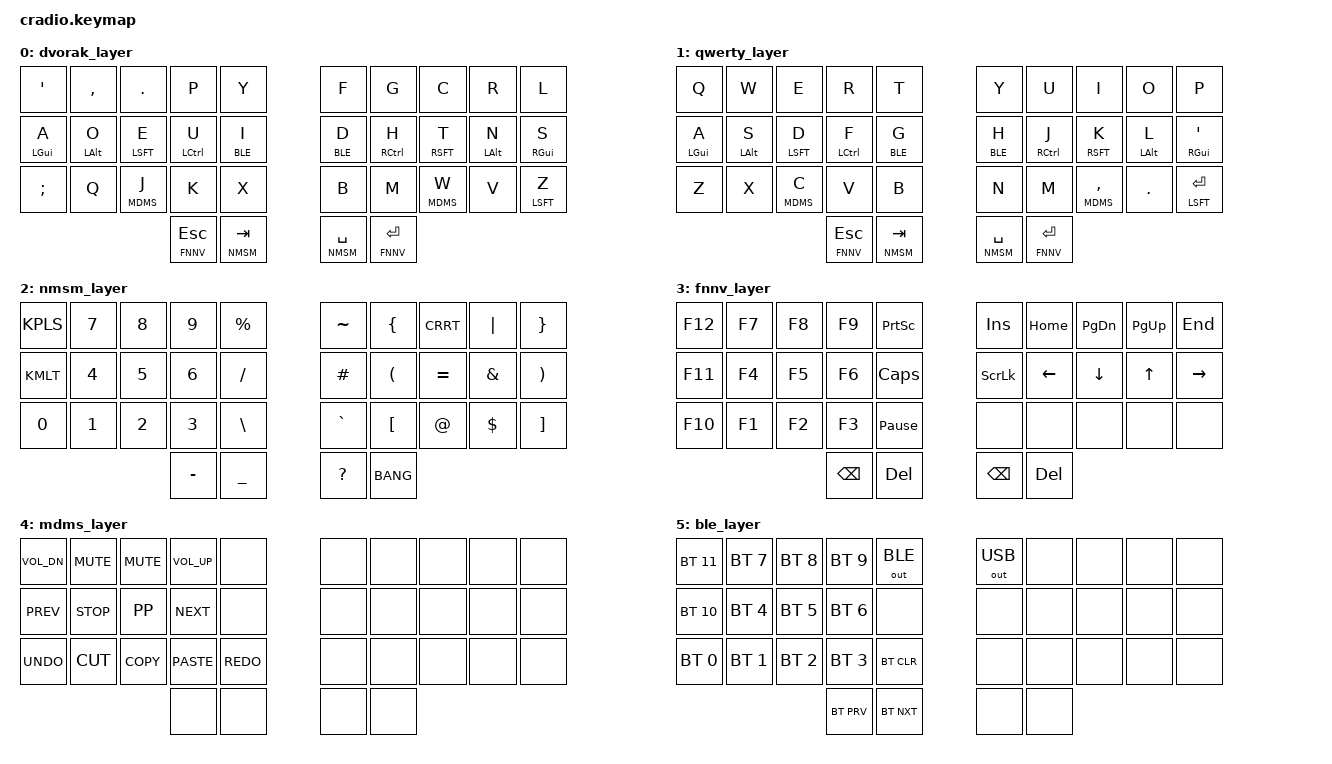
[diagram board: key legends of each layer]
/*
 * Copyright (c) 2020 The ZMK Contributors
 *
 * SPDX-License-Identifier: MIT
 */

#include <behaviors.dtsi>
#include <dt-bindings/zmk/keys.h>
#include <dt-bindings/zmk/bt.h>
#include <dt-bindings/zmk/outputs.h>

#define DVRK 0 /* dvorak */
#define QWRT 1 /* qwerty */
#define NMSM 2 /* numbers + symbols */
#define FNNV 3 /* function keys + navigation  */
#define MDMS 4 /* media + mouse */
#define BLE  5 /* for configuring bluetooth */


/* homerow mod placement ("left pinky mod" = LPMD, "left ring mod" = LRMD, etc) */
#define LPMD LGUI
#define LRMD LALT
#define LMMD LSFT
#define LIMD LCTL 
#define RPMD RGUI
#define RRMD RALT
#define RMMD RSFT
#define RIMD RCTL 

&lt {
    flavor = "balanced";
    tapping_term_ms = <150>;
};

&mt {
    flavor = "balanced";
    tapping_term_ms = <150>;
};

/ { 
    behaviors {
        bkspdel: backspace_delete {
            compatible = "zmk,behavior-mod-morph";
            label = "BACKSPACE_DELETE";
            #binding-cells = <0>;
            bindings = <&kp BSPC>, <&kp DEL>;
            mods = <(MOD_LCTL|MOD_RCTL)>;
        };
    };

    combos {
        compatible = "zmk,combos";
        combo_toggle_layout {
            timeout-ms = <50>;
            key-positions = <0 9 20 29>;
            bindings = <&tog QWRT>;
        };

        combo_bootloader {
            timeout-ms = <50>;
            key-positions = <14 15 24 25>;
            bindings = <&bootloader>;
        };

        combo_reset {
            timeout-ms = <50>;
            key-positions = <30 31>;
            bindings = <&reset>;
        };
    };

    keymap {
        compatible = "zmk,keymap";
                
        dvorak_layer {
            bindings = <
                &kp QUOT   &kp CMMA   &kp DOT    &kp P        &kp Y        /**/ &kp F        &kp G        &kp C      &kp R      &kp L 
                &mt LPMD A &mt LRMD O &mt LMMD E &mt LIMD U   &lt BLE I    /**/ &lt BLE D    &mt RIMD H   &mt RMMD T &mt LRMD N &mt RPMD S
                &kp SCLN   &kp Q      &lt MDMS J &kp K        &kp X        /**/ &kp B        &kp M        &lt MDMS W &kp V      &mt LSFT Z
                                                 &lt FNNV ESC &lt NMSM TAB /**/ &lt NMSM SPC &lt FNNV RET 
            >;
        };

        qwerty_layer {
            bindings = <
                &kp Q      &kp W      &kp E      &kp R        &kp T        /**/ &kp Y        &kp U        &kp I      &kp O      &kp P 
                &mt LPMD A &mt LRMD S &mt LMMD D &mt LIMD F   &lt BLE G    /**/ &lt BLE H    &mt RIMD J   &mt RMMD K &mt LRMD L &mt RPMD QUOT
                &kp Z      &kp X      &lt MDMS C &kp V        &kp B        /**/ &kp N        &kp M        &lt MDMS CMMA &kp DOT &mt LSFT RET
                                                 &lt FNNV ESC &lt NMSM TAB /**/ &lt NMSM SPC &lt FNNV RET 
            >;
        };

        nmsm_layer { /* numbers and symbols */
            bindings = <
                &kp KPLS   &kp N7     &kp N8     &kp N9       &kp PRCNT    /**/ &kp TILDE    &kp LBRC     &kp CRRT   &kp PIPE   &kp RBRC 
                &kp KMLT   &kp N4     &kp N5     &kp N6       &kp FSLH     /**/ &kp HASH     &kp LPRN     &kp EQUAL  &kp AMPS   &kp RPRN
                &kp N0     &kp N1     &kp N2     &kp N3       &kp BSLH     /**/ &kp GRAVE    &kp LBKT     &kp AT     &kp DLLR   &kp RBKT
                                                 &kp MINUS    &kp UNDER    /**/ &kp QMARK    &kp BANG 
            >;
        };

        fnnv_layer { /* function keys and navigation */
            bindings = <
                &kp F12    &kp F7     &kp F8     &kp F9       &kp PSCRN    /**/ &kp INSERT   &kp HOME     &kp PG_DN  &kp PG_UP  &kp END 
                &kp F11    &kp F4     &kp F5     &kp F6       &kp CAPS     /**/ &kp SLCK     &kp LEFT     &kp DOWN   &kp UP     &kp RIGHT
                &kp F10    &kp F1     &kp F2     &kp F3       &kp PAUSE_BREAK   &none        &none        &none      &none      &none
                                                 &kp BKSP     &kp DEL      /**/ &kp BKSP     &kp DEL     
            >;
        };

        mdms_layer { /* media and mouse */
            bindings = <
                &kp K_VOL_DN &kp K_MUTE &kp K_MUTE &kp K_VOL_UP &none      /**/ &none        &none        &none      &none      &none 
                &kp K_PREV   &kp K_STOP &kp K_PP   &kp K_NEXT   &none      /**/ &none        &none        &none      &none      &none   
                &kp K_UNDO   &kp K_CUT  &kp K_COPY &kp K_PASTE  &kp K_REDO /**/ &none        &none        &none      &none      &none
                                                   &none        &none      /**/ &none        &none     
            >;
        };

        ble_layer { /* media and mouse */
            bindings = <
                &bt BT_SEL 11 &bt BT_SEL 7 &bt BT_SEL 8 &bt BT_SEL 9 &out OUT_BLE /**/ &out OUT_USB &none        &none      &none      &none 
                &bt BT_SEL 10 &bt BT_SEL 4 &bt BT_SEL 5 &bt BT_SEL 6 &none        /**/ &none        &none        &none      &none      &none   
                &bt BT_SEL 0  &bt BT_SEL 1 &bt BT_SEL 2 &bt BT_SEL 3 &bt BT_CLR   /**/ &none        &none        &none      &none      &none
                                                        &bt BT_PRV   &bt BT_NXT   /**/ &none        &none     
            >;
        };
  };
};
